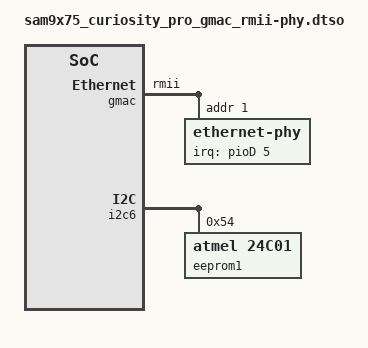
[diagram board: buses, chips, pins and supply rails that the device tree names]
// SPDX-License-Identifier: (GPL-2.0+ OR MIT)
/*
 * Device Tree file for SAM9X75 CURIOSITY Pro board overlay blob for a single-port
 * RMII PHY Daughter Card.
 *
 * Copyright (C) 2026 Microchip Technology Inc. and its subsidiaries
 *
 * Author: Ryan Wanner <ryan.wanner@microchip.com>
 *
 */
/dts-v1/;
/plugin/;

#include <dt-bindings/gpio/gpio.h>
#include <dt-bindings/interrupt-controller/irq.h>
#include <dt-bindings/mfd/atmel-flexcom.h>
#include <dt-bindings/pinctrl/at91.h>

&gmac {
	phy-mode = "rmii";
	#address-cells = <1>;
	#size-cells = <0>;
	pinctrl-names = "default";
	pinctrl-0 = <&pinctrl_gmac_rmii_default>;
//	magic-packet;
	cdns,refclk-ext;
	status = "okay";

	ethernet-phy@1 {
		reg = <0x1>;
		interrupt-parent = <&pioD>;
		interrupts = <5 IRQ_TYPE_LEVEL_LOW>;
	};
};

&i2c6 {
	#address-cells = <1>;
	#size-cells = <0>;
	eeprom1: eeprom@54 {
		compatible = "atmel,24c01";
		reg = <0x54>;
		pagesize = <8>;
		status = "okay";

		nvmem-layout {
			compatible = "fixed-layout";
			#address-cells = <1>;
			#size-cells = <1>;
		};
	};
};

&pinctrl {
	gmac {
		pinctrl_gmac_rmii_default: gmac-rmii-default {
			atmel,pins =
                               <AT91_PIOB 13 AT91_PERIPH_A  AT91_PINCTRL_SLEWRATE_DIS                          /* ETH_TX0   */
                                AT91_PIOB 14 AT91_PERIPH_A  AT91_PINCTRL_SLEWRATE_DIS                          /* ETH_TX1   */
                                AT91_PIOB 7  AT91_PERIPH_A  AT91_PINCTRL_SLEWRATE_DIS                          /* ETH_TXEN  */
                                AT91_PIOB 6  AT91_PERIPH_A  (AT91_PINCTRL_SLEWRATE_DIS | AT91_PINCTRL_DIS_SCHMIT)                              /* ETH_TXCK (REFCLK) */
                                AT91_PIOB 11 AT91_PERIPH_A  AT91_PINCTRL_SLEWRATE_DIS                          /* ETH_RX0   */
                                AT91_PIOB 12 AT91_PERIPH_A  AT91_PINCTRL_SLEWRATE_DIS                          /* ETH_RX1   */
                                AT91_PIOB 0  AT91_PERIPH_C  AT91_PINCTRL_PULL_DOWN                             /* ETH_RXER in RMII  */
                                AT91_PIOB 3  AT91_PERIPH_A  AT91_PINCTRL_SLEWRATE_DIS                          /* ETH_RXDV */
                                AT91_PIOB 10 AT91_PERIPH_A  AT91_PINCTRL_NONE                                  /* ETH_MDC   */
                                AT91_PIOB 9  AT91_PERIPH_A  AT91_PINCTRL_NONE                                  /* ETH_MDIO  */
                                AT91_PIOD 5  AT91_PERIPH_GPIO  AT91_PINCTRL_NONE>;                             /* ETH_INT   */
		};
	};
};

&{/} {
	model = "SAM9X75-Curiosity-Pro: Single-port RMII PHY Daughter Card";
};
